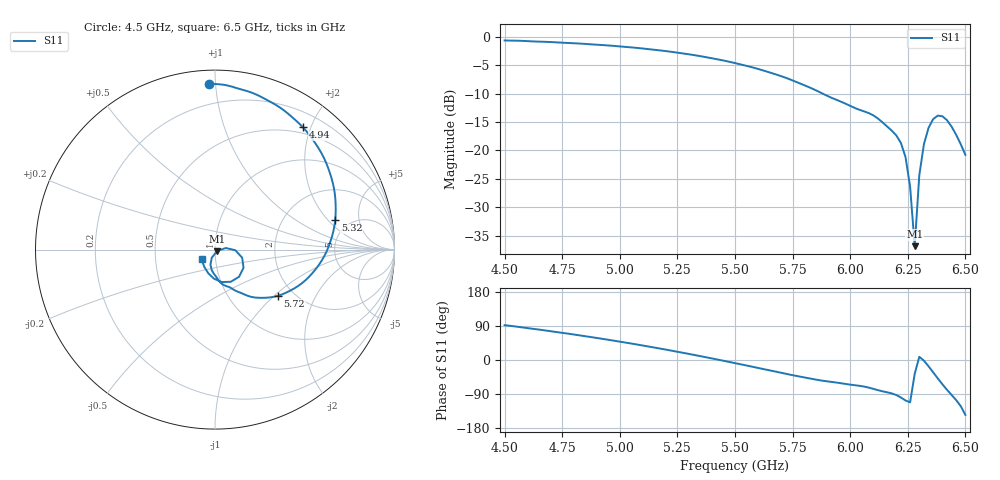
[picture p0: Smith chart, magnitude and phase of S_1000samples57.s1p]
! TOUCHSTONE file generated by CST MICROWAVE STUDIO
! Date and time: Wed Oct 26 20:29:46 2022
! Project name: L.cst
! Parameters = {Di=1.27; Epsilon_r=1.56; InnerDiameter=1.27; Length=2; Lf=10; Lg=60; OuterConductorThickness=0.2921; OuterDiameter=3.6; Wf=3; Wp=41.2; de=1.5; df=6.8; g=0.8; gx=3.36733; gy=4.1657; h=2.34; hf=1.524; px=13.7702; py=14.3202; w=9.7; wx=10.4029; wy=10.1545}
! Header version: 2018
! Port assignment regex: !\s*Touchstone port\s*([0-9]+)\s*=\s*(CST MWS port|CST DS port)\s*([0-9]+|Zmin|Zmax)\s*\(\"(.*)\"\)(\s*mode\s*([0-9]+))?.*
! Touchstone port assignment:
! Touchstone port 1 = CST MWS port 1 ("")
# GHz S DB R 50
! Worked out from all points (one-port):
!   101 points, 4.5 GHz to 6.5 GHz, reference 50 ohm
!   lowest |S11| = -36.8 dB at 6.28 GHz (marker M1), VSWR 1.03, Z = 51.2 - j0.877 ohm
!   |S11| at or under -10 dB: 5.88 GHz to end of sweep
!   S11 on the Smith chart (normalised r, x): 4.5 GHz: 0.07, +0.96; 4.94 GHz: 0.41, +1.88; 5.32 GHz: 3.87, +2.40; 5.72 GHz: 1.66, -1.06; 6.5 GHz: 0.86, -0.09
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4.5  -0.67 92.0
4.6  -0.79 84.1
4.76  -1.09 70.8
4.94  -1.52 54.3
5  -1.72 48.4
5.14  -2.27 34.0
5.26  -2.88 20.6
5.32  -3.23 13.7
5.5  -4.65 -8.3
5.62  -5.91 -23.5
5.72  -7.23 -36.3
5.76  -7.86 -41.2
5.88  -10.01 -54.6
6  -12.16 -65.0
6.1  -13.83 -76.1
6.2  -17.36 -92.4
6.22  -18.68 -98.9
6.24  -21.15 -106.8
6.26  -26.35 -111.7
6.28  -36.83 -36.5
6.3  -24.33 8.5
6.32  -18.91 -1.8
6.34  -16.04 -16.6
6.36  -14.50 -32.5
6.38  -13.88 -48.4
6.42  -14.68 -78.4
6.46  -17.25 -105.9
6.5  -20.77 -144.8
